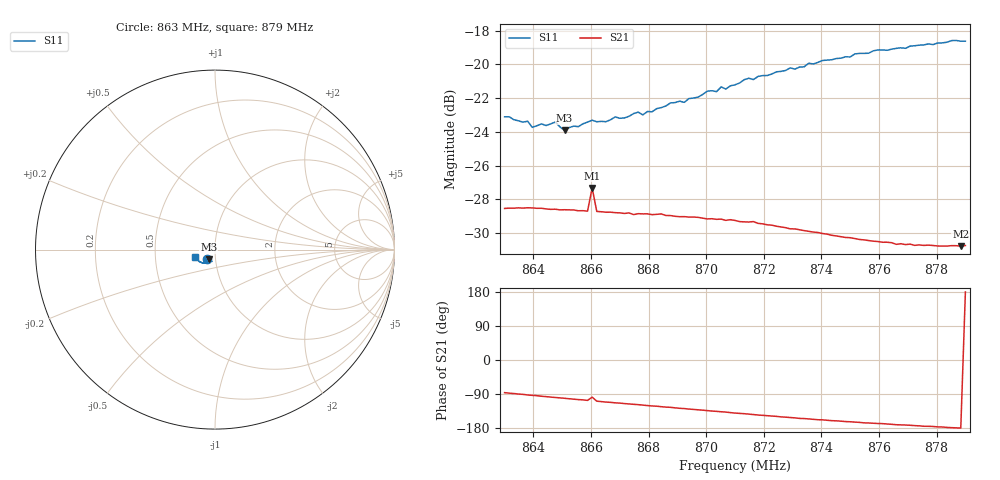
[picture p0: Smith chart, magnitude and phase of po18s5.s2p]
# HZ S RI R 50
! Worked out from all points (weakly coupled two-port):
!   101 points, 863 MHz to 879 MHz, reference 50 ohm
!   highest |S21| = -27.33 dB at 866.04 MHz (marker M1); lowest = -30.8 dB at 878.84 MHz (marker M2)
!   lowest |S11| = -23.9 dB at 865.08 MHz (marker M3), VSWR 1.14, Z = 46.4 - j4.95 ohm
!   |S11| at or under -10 dB: start of sweep to end of sweep
!   S12 and S22 are empty: the file has one direction only
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8.63e8  -0.0452 -0.0533  0.0025 -0.0373  0 0  0 0
8.638e8  -0.0418 -0.0535  -0.00155 -0.0375  0 0  0 0
8.6396e8  -0.0391 -0.052  -0.00215 -0.0375  0 0  0 0
8.6476e8  -0.0399 -0.0544  -0.00578 -0.0368  0 0  0 0
8.6508e8  -0.0351 -0.0532  -0.00707 -0.0364  0 0  0 0
8.6572e8  -0.0338 -0.0574  -0.00962 -0.0356  0 0  0 0
8.6588e8  -0.0353 -0.0575  -0.0105 -0.0352  0 0  0 0
8.6604e8  -0.0166 -0.0662  -0.00607 -0.0426  0 0  0 0
8.662e8  -0.0358 -0.0573  -0.0117 -0.0347  0 0  0 0
8.6652e8  -0.0338 -0.0585  -0.0131 -0.034  0 0  0 0
8.6684e8  -0.0357 -0.06  -0.0142 -0.0334  0 0  0 0
8.6716e8  -0.0343 -0.0603  -0.0153 -0.0328  0 0  0 0
8.6764e8  -0.0351 -0.063  -0.0169 -0.0319  0 0  0 0
8.678e8  -0.0339 -0.0621  -0.0175 -0.0315  0 0  0 0
8.6844e8  -0.0365 -0.0648  -0.0197 -0.0301  0 0  0 0
8.71e8  -0.0464 -0.0735  -0.0264 -0.0221  0 0  0 0
8.7148e8  -0.0514 -0.075  -0.0272 -0.0206  0 0  0 0
8.7164e8  -0.0504 -0.0747  -0.0277 -0.0201  0 0  0 0
8.7372e8  -0.0671 -0.0745  -0.0292 -0.0127  0 0  0 0
8.7644e8  -0.0914 -0.0629  -0.0291 -0.00529  0 0  0 0
8.7884e8  -0.1095 -0.0414  -0.0289 -0.000183  0 0  0 0
8.79e8  -0.1103 -0.0395  -0.029 0.000276  0 0  0 0
